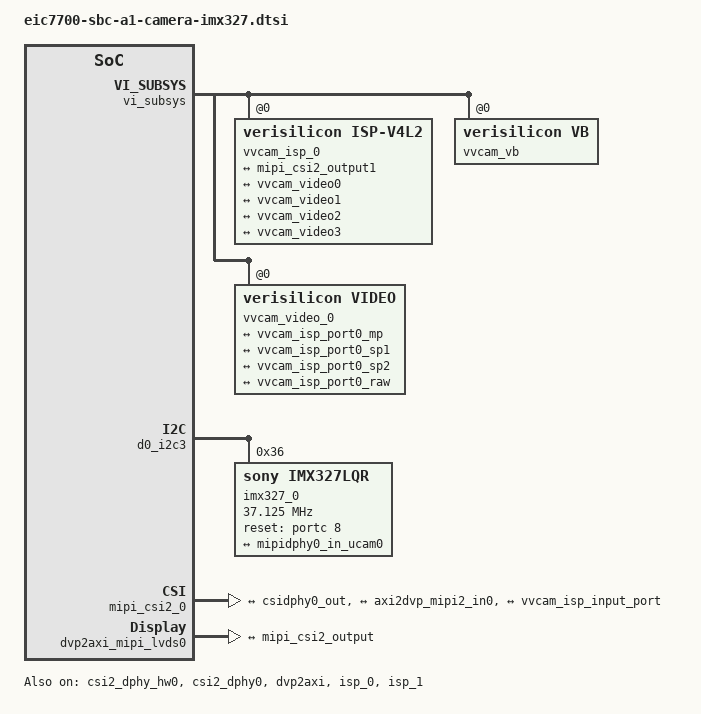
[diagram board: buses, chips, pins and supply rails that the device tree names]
#include <dt-bindings/gpio/gpio.h>
#include <dt-bindings/input/input.h>
&vi_subsys {
	eswin,isp_dvp0_hor = <1920>;
	eswin,isp_dvp0_ver = <1080>;
	imx327,hdr-en-2;
	phy_mode = <5>; //5: 6x2lanes, 2: 3x4lanes
	vvcam_isp_0: vvcam_isp@0 {
		compatible = "verisilicon,isp-v4l2";
		id = <0>;
		status = "okay";
		dma-noncoherent;
		depends-on = <&imx327_0>;
		ports {
			#address-cells = <1>;
			#size-cells = <0>;

			port@0 {
				#address-cells = <1>;
				#size-cells = <0>;
				reg = <0>;
				vvcam_isp_input_port: endpoint@0 {
					reg = <0>;
					remote-endpoint = <&mipi_csi2_output1>;
				};
			};

			port@1 {
				#address-cells = <1>;
				#size-cells = <0>;
				reg = <1>;
				vvcam_isp_port0_mp: endpoint {
					remote-endpoint = <&vvcam_video0>;
				};
			};

			port@2 {
				#address-cells = <1>;
				#size-cells = <0>;
				reg = <2>;
				vvcam_isp_port0_sp1: endpoint {
					remote-endpoint = <&vvcam_video1>;
				};
			};

			port@3 {
				#address-cells = <1>;
				#size-cells = <0>;
				reg = <3>;
				vvcam_isp_port0_sp2: endpoint {
					remote-endpoint = <&vvcam_video2>;
				};
			};

			port@4 {
				#address-cells = <1>;
				#size-cells = <0>;
				reg = <4>;
				vvcam_isp_port0_raw: endpoint {
					remote-endpoint = <&vvcam_video3>;
				};
			};
		};
	};

	vvcam_vb: vvcam-vb@0 {
		compatible = "verisilicon,vb";
		status = "okay";
		depends-on = <&imx327_0>;
		#size-cells = <2>;
		dma-noncoherent;
		dma-ranges = <0x0 0x20000000 0x0 0x80000000 0x0 0x40000000>;
		iommus = <&smmu0 WIN2030_SID_ISP0>;
	};

	vvcam_video_0: vvcam_video@0 {
		compatible = "verisilicon,video";
		id = <0>;
		status = "okay";
		#size-cells = <2>;
		depends-on = <&imx327_0>;
		dma-noncoherent;
		dma-ranges = <0x0 0x20000000 0x0 0x80000000 0x0 0x40000000>;
		iommus = <&smmu0 WIN2030_SID_ISP0>;
		ports {
			#address-cells = <1>;
			#size-cells = <0>;

			port@0 {
				#address-cells = <1>;
				#size-cells = <0>;
				reg = <0>;
				vvcam_video0: endpoint {
					remote-endpoint = <&vvcam_isp_port0_mp>;
				};
			};

			port@1 {
				#address-cells = <1>;
				#size-cells = <0>;
				reg = <1>;
				vvcam_video1: endpoint {
					remote-endpoint = <&vvcam_isp_port0_sp1>;
				};
			};

			port@2 {
				#address-cells = <1>;
				#size-cells = <0>;
				reg = <2>;
				vvcam_video2: endpoint {
					remote-endpoint = <&vvcam_isp_port0_sp2>;
				};
			};

			port@3 {
				#address-cells = <1>;
				#size-cells = <0>;
				reg = <3>;
				vvcam_video3: endpoint {
					remote-endpoint = <&vvcam_isp_port0_raw>;
				};
			};
		};
	};
};

&d0_i2c3 {
	/* mipi csi0/csi1 */
	status = "okay";
	imx327_0: imx327@36 {
			compatible = "sony,imx327lqr";
			status = "okay";
			address-cells = <1>;
			size-cells = <0>;
			reg = <0x36>;
			clocks = <&d0_clock EIC7700_CLK_VI_SHUTTER_0>; 
			assigned-clocks = <&d0_clock EIC7700_CLK_VI_SHUTTER_0>;
			assigned-clock-rates = <37125000>;
			clock-frequency = <37125000>;
			clock-names = "xclk";
			pinctrl-names = "default";
			pinctrl-0 = <&pinctrl_gpio72_default>;
			reset-gpio = <&portc 8 GPIO_ACTIVE_HIGH>;
			port {
				imx327_out0: endpoint {
					remote-endpoint = <&mipidphy0_in_ucam0>;
					data-lanes = <1 2>;
					link-frequencies = /bits/ 64 <445500000 297000000>;
				};
			};
		};
};

&csi2_dphy_hw0 {
	lanes = <1 2>;
	lanes-dp-dn = <0 0>;	// 4lanes: positive on dn/ negative on dp to hs and lp mode
	status = "okay";
};

&csi2_dphy0 {
	status = "okay";
	ports {
		#address-cells = <1>;
		#size-cells = <0>;

		port@0 {
			reg = <0>;
			#address-cells = <1>;
			#size-cells = <0>;

			mipidphy0_in_ucam0: endpoint {
				remote-endpoint = <&imx327_out0>;
				data-lanes = <1 2>;
			};
		};
		port@1 {
			reg = <1>;
			#address-cells = <1>;
			#size-cells = <0>;

			csidphy0_out: endpoint {
				remote-endpoint = <&mipi_csi2_input>;
			};
		};

	};
};

&mipi_csi2_0 {
	status = "okay";
	num_lanes = <2>;
	snps,en-ppi-width = <1>; // 1: 16-bit, 0: 8-bit
	ports {
		#address-cells = <1>;
		#size-cells = <0>;

		port@0 {
			#address-cells = <1>;
			#size-cells = <0>;	
			reg = <0>;
			mipi_csi2_input: endpoint {
				remote-endpoint = <&csidphy0_out>;
				data-lanes = <1 2>;
			};
		};

		port@1 {
			#address-cells = <1>;
			#size-cells = <0>;
			reg = <1>;
			mipi_csi2_output: endpoint {
				remote-endpoint = <&axi2dvp_mipi2_in0>;
			};
		};

		port@2 {
			#address-cells = <1>;
			#size-cells = <0>;
			reg = <2>;
			mipi_csi2_output1: endpoint {
				remote-endpoint = <&vvcam_isp_input_port>;
			};
		};
	};
};

&dvp2axi {
	status = "okay";
};

&dvp2axi_mipi_lvds0 {
	status = "okay";
	dvp2axi_id = <0>;
	ports{
		#address-cells = <1>;
        #size-cells = <0>;
		port@0 {
			#address-cells = <1>;
        	#size-cells = <0>;
			reg = <0>;
			axi2dvp_mipi2_in0: endpoint {
				remote-endpoint = <&mipi_csi2_output>;
			};
		};
	};
};

&isp_0 {
	status = "okay";
};

&isp_1 {
	status = "okay";
};


